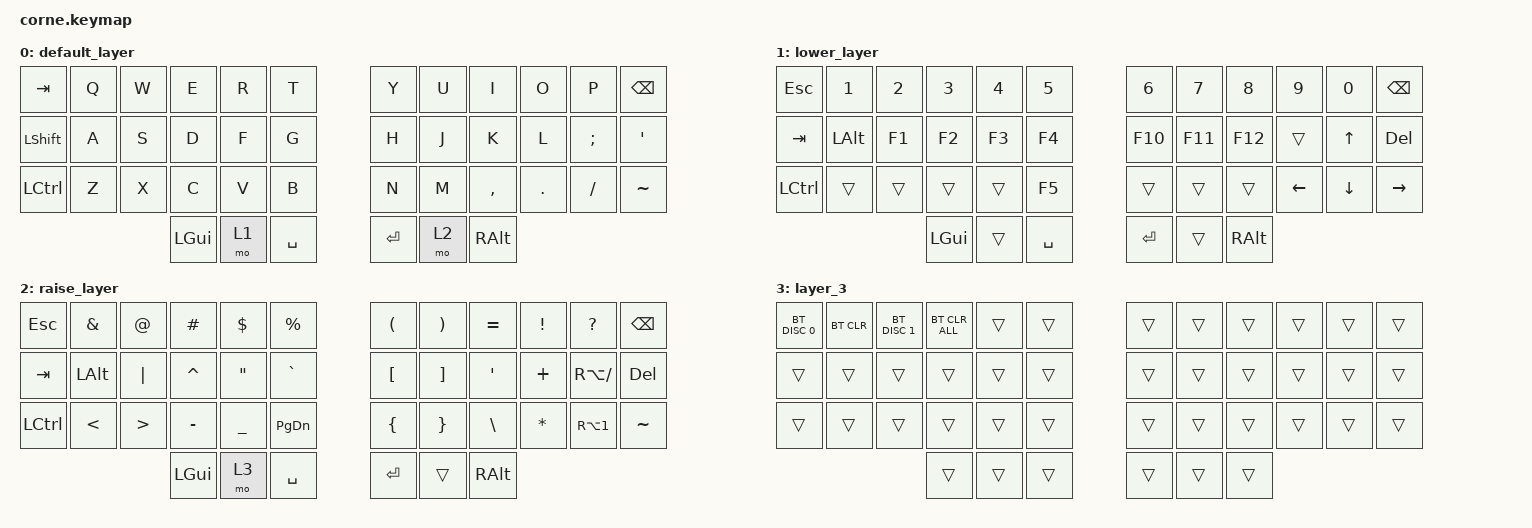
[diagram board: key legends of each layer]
/*
 * Copyright (c) 2020 The ZMK Contributors
 *
 * SPDX-License-Identifier: MIT
 */

#include <behaviors.dtsi>
#include <dt-bindings/zmk/bt.h>
#include <dt-bindings/zmk/keys.h>

/ {
    keymap {
        compatible = "zmk,keymap";

        default_layer {
            // -----------------------------------------------------------------------------------------
            // |  TAB |  Q  |  W  |  E  |  R  |  T  |   |  Y  |  U   |  I  |  O  |  P  | BSPC |
            // | CTRL |  A  |  S  |  D  |  F  |  G  |   |  H  |  J   |  K  |  L  |  ;  |  '   |
            // | SHFT |  Z  |  X  |  C  |  V  |  B  |   |  N  |  M   |  ,  |  .  |  /  | ESC  |
            //                    | GUI | LWR | SPC |   | ENT | RSE  | ALT |

            bindings = <
&kp TAB         &kp Q  &kp W  &kp E     &kp R  &kp T        &kp Y    &kp U  &kp I      &kp O    &kp P     &kp BSPC
&kp LEFT_SHIFT  &kp A  &kp S  &kp D     &kp F  &kp G        &kp H    &kp J  &kp K      &kp L    &kp SEMI  &kp SQT
&kp LCTRL       &kp Z  &kp X  &kp C     &kp V  &kp B        &kp N    &kp M  &kp COMMA  &kp DOT  &kp FSLH  &kp TILDE
                              &kp LGUI  &mo 1  &kp SPACE    &kp RET  &mo 2  &kp RALT
            >;
        };

        lower_layer {
            // -----------------------------------------------------------------------------------------
            // |  TAB |  1  |  2  |  3  |  4  |  5  |   |  6  |  7  |  8  |  9  |  0  | BSPC |
            // | BTCLR| BT1 | BT2 | BT3 | BT4 | BT5 |   | LFT | DWN |  UP | RGT |     |      |
            // | SHFT |     |     |     |     |     |   |     |     |     |     |     |      |
            //                    | GUI |     | SPC |   | ENT |     | ALT |

            bindings = <
&kp ESCAPE  &kp N1    &kp N2  &kp N3    &kp N4  &kp N5       &kp N6   &kp N7   &kp N8    &kp N9    &kp N0          &kp BSPC
&kp TAB     &kp LALT  &kp F1  &kp F2    &kp F3  &kp F4       &kp F10  &kp F11  &kp F12   &trans    &kp UP_ARROW    &kp DELETE
&kp LCTRL   &trans    &trans  &trans    &trans  &kp F5       &trans   &trans   &trans    &kp LEFT  &kp DOWN_ARROW  &kp RIGHT
                              &kp LGUI  &trans  &kp SPACE    &kp RET  &trans   &kp RALT
            >;
        };

        raise_layer {
            // -----------------------------------------------------------------------------------------
            // |  TAB |  !  |  @  |  #  |  $  |  %  |   |  ^  |  &  |  *  |  (  |  )  | BSPC |
            // | CTRL |     |     |     |     |     |   |  -  |  =  |  [  |  ]  |  \  |  `   |
            // | SHFT |     |     |     |     |     |   |  _  |  +  |  {  |  }  | "|" |  ~   |
            //                    | GUI |     | SPC |   | ENT |     | ALT |

            bindings = <
&kp ESCAPE        &kp AMPS       &kp AT            &kp HASH   &kp DLLR           &kp PRCNT        &kp LEFT_PARENTHESIS  &kp RIGHT_PARENTHESIS  &kp EQUAL         &kp EXCL  &kp QUESTION  &kp BSPC
&kp TAB           &kp LEFT_ALT   &kp PIPE          &kp CARET  &kp DOUBLE_QUOTES  &kp GRAVE        &kp LEFT_BRACKET      &kp RIGHT_BRACKET      &kp SINGLE_QUOTE  &kp PLUS  &kp RA(FSLH)  &kp DEL
&kp LEFT_CONTROL  &kp LESS_THAN  &kp GREATER_THAN  &kp MINUS  &kp UNDERSCORE     &kp PAGE_DOWN    &kp LEFT_BRACE        &kp RIGHT_BRACE        &kp BACKSLASH     &kp STAR  &kp RA(N1)    &kp TILDE
                                                   &kp LGUI   &mo 3              &kp SPACE        &kp RET               &trans                 &kp RALT
            >;
        };

        layer_3 {
            bindings = <
&bt BT_DISC 0  &bt BT_CLR  &bt BT_DISC 1  &bt BT_CLR_ALL  &trans  &trans    &trans  &trans  &trans  &trans  &trans  &trans
&trans         &trans      &trans         &trans          &trans  &trans    &trans  &trans  &trans  &trans  &trans  &trans
&trans         &trans      &trans         &trans          &trans  &trans    &trans  &trans  &trans  &trans  &trans  &trans
                                          &trans          &trans  &trans    &trans  &trans  &trans
            >;
        };
    };
};
